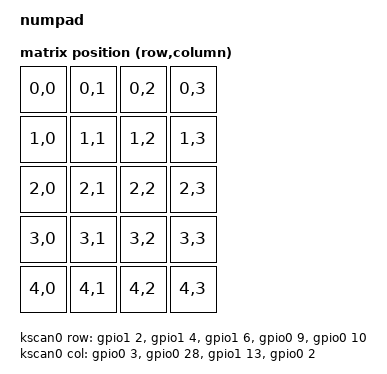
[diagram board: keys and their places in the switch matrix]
/*
 * Copyright (c) 2021 Nick Winans
 *
 * SPDX-License-Identifier: MIT
 */

/dts-v1/;
#include <nordic/nrf52840_qiaa.dtsi>
#include <dt-bindings/zmk/matrix_transform.h>
#include <dt-bindings/led/led.h>
#include <dt-bindings/zmk/ext_power.h>
#include <dt-bindings/zmk/led_matrix.h>
#include <dt-bindings/zmk/led_matrix_colors.h>
//#include <dt-bindings/zmk/backlight.h>
#include <common/nordic/nrf52840_uf2_boot_mode.dtsi>

#include "numpad_layouts.dtsi"
#include "numpad-pinctrl.dtsi"

/ {
	model = "numpad";
	compatible = "bmk,numpad";

	chosen {
		zephyr,code-partition = &code_partition;
		zephyr,sram = &sram0;
		zephyr,flash = &flash0;
		zmk,kscan = &kscan0;
		zmk,backlight = &backlight;
		//zephyr,display = &oled;
		//zephyr,display = &nice_view;
		zephyr,display = &st75256_display;
		//zephyr,display = &st7789;
		zmk,battery = &vbatt;
		zmk,led-matrix = &led_matrix;
		zmk,physical-layout = &layout_numpad;
	};

	default_transform: keymap_transform_0 {
		compatible = "zmk,matrix-transform";
		columns = <4>;
		rows = <5>;
		map = <
RC(0,0) RC(0,1) RC(0,2) RC(0,3) 
RC(1,0) RC(1,1) RC(1,2) RC(1,3) 
RC(2,0) RC(2,1) RC(2,2) RC(2,3)
RC(3,0) RC(3,1) RC(3,2) RC(3,3) 
RC(4,0) RC(4,1) RC(4,2) RC(4,3)
		>;
	};

	kscan0: kscan {
		compatible = "zmk,kscan-gpio-matrix";
		label = "KSCAN";
		diode-direction = "row2col";
		wakeup-source;
		row-gpios
			= <&gpio1 2 GPIO_ACTIVE_HIGH>
			, <&gpio1 4 GPIO_ACTIVE_HIGH>
			, <&gpio1 6 GPIO_ACTIVE_HIGH>
			, <&gpio0 9 GPIO_ACTIVE_HIGH>
			, <&gpio0 10 GPIO_ACTIVE_HIGH>
			;
		col-gpios
			= <&gpio0 3 (GPIO_ACTIVE_HIGH | GPIO_PULL_DOWN)>
			, <&gpio0 28 (GPIO_ACTIVE_HIGH | GPIO_PULL_DOWN)>
			, <&gpio1 13 (GPIO_ACTIVE_HIGH | GPIO_PULL_DOWN)>
			, <&gpio0 2 (GPIO_ACTIVE_HIGH | GPIO_PULL_DOWN)>
			;
	};

	backlight: backlight {
		compatible = "gpio-leds";
		screen_backlight: screen_backlight {
			gpios = <&gpio0 8 (GPIO_ACTIVE_HIGH | GPIO_PULL_DOWN)>;
			label = "SCREEN_BACKLIGHT";
		};
	};

	/*
	leds {
		compatible = "gpio-leds";
		white_led: led_0 {
			gpios = <&gpio0 29 GPIO_ACTIVE_HIGH>;
			label = "White_LED";
		};
	};


	lcd_light {
		compatible = "gpio-leds";
		lcd_light_sw: lcd_light {
			gpios = <&gpio0 8 (GPIO_ACTIVE_HIGH | GPIO_PULL_DOWN)>;
			label = "LCD_LIGHT";
		};
	};
 
	lcd_power {
		compatible = "gpio-leds";
		lcd_power_sw: lcd_power {
			gpios = <&gpio0 12 (GPIO_ACTIVE_HIGH | GPIO_PULL_DOWN)>;
			label = "LCD_POWER";
		};
	};


	backlight: pwmleds {
		compatible = "pwm-leds";
		pwm_led_0 {
			pwms = <&pwm0 0 PWM_MSEC(10) PWM_POLARITY_NORMAL>;
		};
	
	};
*/


	EXT_POWER {
        compatible = "zmk,ext-power-generic";
        control-gpios = <&gpio0 12 GPIO_ACTIVE_HIGH>;
    };

		led_matrix: led_matrix {
			compatible = "zmk,led-matrix";
			led-driver = "matrix";

			/*
			* Additional independent RGB test row:
			* CS7 common anode
			* RGB20: SW1=G  SW2=R  SW3=B
			* RGB21: SW4=G  SW5=R  SW6=B
			* RGB22: SW7=G  SW8=R  SW9=B
			* RGB23: SW10=G SW11=R SW12=B
			
			channel-indexes = <
				16 0 32   64 48 80   112 96 128   160 144 176
				17 1 33   65 49 81   113 97 129   161 145 177
				18 2 34   66 50 82   114 98 130   162 146 178
				19 3 35   67 51 83   115 99 131   163 147 179
				20 4 36   68 52 84   116 100 132  164 148 180
				22 6 38   70 54 86   118 102 134  166 150 182
			>;
			independent-leds = <20 21 22 23>;
			*/

			led-device = <&is31_led>;
			led-count = <20>;
			output-channel-count = <144>;

			/*
			 * ZMK channel-indexes are ordered R, G, B.
			 * Entries use the ZMK IS31FL3737 driver's dense flattened channel
			 * space (0..143).
			 *
			 * The driver restores the device's sparse PWM register layout
			 * internally, so this table should stay in dense channel space
			 * rather than raw page offsets.
			 */

			channel-indexes = <
				12 0 24   48 36 60   84 72 96   120 108 132
				13 1 25   49 37 61   85 73 97   121 109 133
				14 2 26   50 38 62   86 74 98   122 110 134
				15 3 27   51 39 63   87 75 99   123 111 135
				16 4 28   52 40 64   88 76 100  124 112 136
			>;

			matrix-led-grid = <
				0 1 2 3 LM_BREAK
				4 5 6 7 LM_BREAK
				8 9 10 11 LM_BREAK
				12 13 14 15 LM_BREAK
				16 17 18 19
			>;
		status-timeout-ms = <3000>;
		ble-pairing-hold = <1>;

		battery-leds = <4 5 6 7>;
		//battery-color-on = <LM_RED LM_ORANGE LM_YELLOW LM_GREEN>;
		battery-color-off = <LM_BLACK>;
		battery-level-colors = <LM_RED LM_ORANGE LM_YELLOW LM_GREEN>;
		

		ble-profile-leds = <12 13 14 15>;
		ble-color-open = <LM_BLUE>;
        ble-color-connected = <LM_CYAN>;
        ble-color-disconnected = <LM_RED>;

		hid-num-leds = <0>;
		hid-num-color-on = <LM_WHITE>;
		hid-num-color-off = <LM_BLACK>;

		profile0 {
			profile-id = <0>;
			display-name = "Palette Static";
			renderer = "solid";
			colors = <LM_PALETTE>;
			brightness = <100>;
			period-ms = <1500>;
		};

		profile1 {
            profile-id = <1>;
            display-name = "Swirl";
            renderer = "swirl";
            colors = <LM_DIM_CYAN>;
            brightness = <100>;
            period-ms = <2200>;
		};

		profile2 {
            profile-id = <2>;
            display-name = "Spectrum";
            renderer = "spectrum";
            colors = <LM_DIM_AMBER>;
            brightness = <100>;
            period-ms = <2200>;
        };



		profile3 {
			profile-id = <3>;
			display-name = "Keypress";
			renderer = "keypress";
			independent-led-mode = "static";
			keypress-afterglow-ms = <1000>;
			keypress-fadeout-ms = <250>;
			keypress-range = <0>;
			colors = <LM_PALETTE>;
			brightness = <100>;
			period-ms = <350>;
        };

        profile4 {
            profile-id = <4>;
            display-name = "Ripple";
            renderer = "ripple";
            colors = <LM_PALETTE>;
            brightness = <100>;
            period-ms = <1500>;
        };

        profile5 {
            profile-id = <5>;
            display-name = "Rain";
            renderer = "rain";
            colors = <LM_DIM_CYAN>;
            brightness = <100>;
            period-ms = <1400>;
        };

        profile6 {
            profile-id = <6>;
            display-name = "Starlight";
            renderer = "starlight";
            colors = <LM_DIM_WHITE>;
            brightness = <100>;
            period-ms = <2200>;
        };

	};

/*
	ext-power {
		compatible = "zmk,ext-power-generic";
		label = "EXT_POWER";
		control-gpios = <&gpio0 12 GPIO_ACTIVE_LOW>;
	};
*/

	vbatt: vbatt {
		compatible = "zmk,battery-voltage-divider";
		label = "BATTERY";
		io-channels = <&adc 2>;
		output-ohms = <2000000>;
		full-ohms = <(2000000 + 806000)>;
	};
/*
	pwmleds {
      compatible = "pwm-leds";
      status = "disabled";
      disp_bl: pwm_led_1 {
          pwms = <&pwm1 0 PWM_MSEC(1) PWM_POLARITY_NORMAL>;
      };
  };
*/

};

/*
&pwm1 {
    status = "disabled";
    pinctrl-0 = <&pwm1_default>;
    pinctrl-1 = <&pwm1_sleep>;
    pinctrl-names = "default", "sleep";
};
*/

&reg0 {
    status = "okay";
};

&reg1 {
    regulator-initial-mode = <NRF5X_REG_MODE_DCDC>;
};

&adc {
	status = "okay";
};

&gpiote {
	status = "okay";
};

&gpio0 {
	status = "okay";
};

&gpio1 {
	status = "okay";
};

&i2c0 {
	compatible = "nordic,nrf-twi";
	pinctrl-0 = <&i2c0_default>;
	pinctrl-1 = <&i2c0_sleep>;
	pinctrl-names = "default", "sleep";
	clock-frequency = <400000>;
	status = "okay";

	is31_led: is31fl3737@50 {
		compatible = "zmk,is31fl3737";
		reg = <0x50>;
		sdb-gpios = <&gpio0 6 GPIO_ACTIVE_HIGH>;
	};
};

/*
&i2c0 {
    compatible = "nordic,nrf-twi";
    pinctrl-0 = <&i2c0_default>;
    pinctrl-1 = <&i2c0_sleep>;
    pinctrl-names = "default", "sleep";
	clock-frequency = <100000>;
	status = "okay";
	oled: ssd1306@3c {
        compatible = "solomon,ssd1306fb";
        reg = <0x3c>;
        width = <128>;
        height = <64>;
        segment-offset = <0>;
        page-offset = <0>;
        display-offset = <0>;
        multiplex-ratio = <63>;
		//prechargep = <34>;
        segment-remap;
        com-invdir;
        //com-sequential;
        inversion-on;
        prechargep = <0x22>;
    };

};


disp_spi: &spi3 {
	status = "okay";
	pinctrl-0 = <&spi3_default>;
	pinctrl-1 = <&spi3_sleep>;
	pinctrl-names = "default", "sleep";
	cs-gpios = <&gpio0 22 GPIO_ACTIVE_LOW>;

	st7789: st7789v@0 {
		compatible = "sitronix,st7789v";
		spi-max-frequency = <1000000>;
		reg = <0>;
		cmd-data-gpios = <&gpio0 13 GPIO_ACTIVE_LOW>;
		reset-gpios = <&gpio0 20 GPIO_ACTIVE_LOW>;
		width = <240>;
		height = <280>;
		x-offset = <0>;
		y-offset = <20>;
		vcom = <0x19>;
		gctrl = <0x35>;
		vrhs = <0x12>;
		vdvs = <0x20>;
		mdac = <0x00>;
		gamma = <0x01>;
		colmod = <0x05>;
		lcm = <0x2c>;
		porch-param = [ 0c 0c 00 33 33  ];
		cmd2en-param = [ 5a 69 02 01  ];
		pwctrl1-param = [ a4 a1  ];
		pvgam-param = [ D0 04 0D 11 13 2B 3F 54 4C 18 0D 0B 1F 23  ];
		nvgam-param = [ D0 04 0C 11 13 2C 3F 44 51 2F 1F 1F 20 23  ];
		ram-param = [ 00 F0  ];
		rgb-param = [ CD 08 14  ];
   };
};




disp_spi: &spi1 {
	compatible = "nordic,nrf-spim";
    pinctrl-0 = <&spi1_default>;
    pinctrl-1 = <&spi1_sleep>;
    pinctrl-names = "default", "sleep";
    cs-gpios = <&gpio0 22  GPIO_ACTIVE_LOW>;
    status = "okay";
    st7789: st7789v@0 {
        compatible = "sitronix,st7789v";
        reg = <0>; 
        spi-max-frequency = <10000000>; 
        cmd-data-gpios = <&gpio0 13 GPIO_ACTIVE_LOW>;
        reset-gpios = <&gpio0 20 GPIO_ACTIVE_LOW>;
        width = <320>;
        height = <172>;
        x-offset = <0>;
        y-offset = <34>;
		vcom = <0x19>;
		gctrl = <0x35>;
		vrhs = <0x12>;
		vdvs = <0x20>;
		mdac = <0x60>;
		gamma = <0x01>;
		colmod = <0x05>;
		lcm = <0x2c>;
		porch-param = [0c 0c 00 33 33];
		cmd2en-param = [5a 69 02 01];
		pwctrl1-param = [A4 A1];
		pvgam-param = [D0 04 0D 11 13 2B 3F 54 4C 18 0D 0B 1F 23];
		nvgam-param = [D0 04 0C 11 13 2C 3F 44 51 2F 1F 1F 20 23];
		ram-param = [00 F0];
		rgb-param = [CD 08 14];
    };
};
*/

/*
nice_view_spi: &spi1 {
    compatible = "nordic,nrf-spim";
    pinctrl-0 = <&spi1_default>;
    pinctrl-1 = <&spi1_sleep>;
    pinctrl-names = "default", "sleep";
    cs-gpios = <&gpio0 22  GPIO_ACTIVE_HIGH>;
};

&nice_view_spi {
    status = "okay";
    nice_view: ls0xx@0 {
        compatible = "sharp,ls0xx";
        spi-max-frequency = <1000000>;
        reg = <0>;
        width = <160>;
        height = <68>;
    };
};
*/

&spi1 {
	compatible = "nordic,nrf-spim";
	pinctrl-0 = <&spi1_default>;
	pinctrl-1 = <&spi1_sleep>;
	pinctrl-names = "default", "sleep";
	cs-gpios = <&gpio0 22 GPIO_ACTIVE_LOW>;
	status = "okay";
};

/ {
	mipi_dbi_st75256: mipi-dbi-st75256 {
		compatible = "zephyr,mipi-dbi-spi";
		spi-dev = <&spi1>;
		dc-gpios = <&gpio0 20 GPIO_ACTIVE_HIGH>;
		reset-gpios = <&gpio0 17 GPIO_ACTIVE_LOW>;
		write-only;
		#address-cells = <1>;
		#size-cells = <0>;

		st75256_display: st75256@0 {
			compatible = "sitronix,st75256";
			reg = <0>;
			mipi-max-frequency = <1000000>;
			mipi-mode = "MIPI_DBI_MODE_SPI_4WIRE";
			width = <256>;
			height = <160>;
			duty = <159>;
			fi-settings = <0x0e>;
			bias-ratio = <4>;
			booster-frequency = <1>;
			flip-configuration = <0>;
			/* inversion-on; */
			lsb-invdir;
			light-grey = <0x08>;
			dark-grey = <0x18>;
			power-control = <0x0b>;
		};
	};
};

/*
&spi1 {
	compatible = "nordic,nrf-spim";
    pinctrl-0 = <&spi1_default>;
    pinctrl-1 = <&spi1_sleep>;
    pinctrl-names = "default", "sleep";
	cs-gpios = <&gpio0 22 GPIO_ACTIVE_LOW>;
    status = "okay";
    st75256_display: st75256@0 {
        compatible = "sitronix,st75256";
        reg = <0>;
        spi-max-frequency = <4000000>;
        a0-gpios = <&gpio0 20 GPIO_ACTIVE_HIGH>;
        reset-gpios = <&gpio0 17 GPIO_ACTIVE_LOW>;
        width = <256>;
        height = <160>;
        //duty = <159>;
        //bias-ratio = <1>;
        //booster-frequency = <0>;
        //flip-configuration = <0>;
		c86-mode = <0>;
        //pixel-format = "MONO01"; 
    };
};





&i2c0 {
    compatible = "nordic,nrf-twi";
    pinctrl-0 = <&i2c0_default>;
    pinctrl-1 = <&i2c0_sleep>;
    pinctrl-names = "default", "sleep";
	clock-frequency = <100000>;
	status = "okay";
	oled: ch1115@3c {
        compatible = "solomon,ch1115";
        reg = <0x3c>;
        width = <128>;
        height = <64>;
        //reset-gpios = <&gpio0 15 GPIO_ACTIVE_LOW>;
        segment-offset = <0>;
        page-offset = <0>;
        display-offset = <0>;
        multiplex-ratio = <63>;
        prechargep = <0x22>;
        vcomh-level = <0x35>;
        com-sequential;
        //internal-charge-pump;
        ready-time-ms = <100>;
    };

};

*/

/*

&i2c0 {
	compatible = "nordic,nrf-twi";
    pinctrl-0 = <&i2c0_default>;
    pinctrl-1 = <&i2c0_sleep>;
    pinctrl-names = "default", "sleep";
	clock-frequency = <100000>;
    status = "okay";
    oled: ssd1312@3c {
		compatible = "solomon,ssd1312fb";
		reg = <0x3c>;
		width = <128>;
		height = <64>;
		segment-offset = <0>;
		page-offset = <0>;
		display-offset = <0>;
		multiplex-ratio = <63>;
		segment-remap;
		com-invdir;
		com-sequential;
		prechargep = <0x22>;
		//reset-gpios = <&gpio1 9 GPIO_ACTIVE_LOW>;
		ready-time-ms = <100>;
		external-vcc;
    };
};


*/



/*


nice_view_spi: &spi0 {
    compatible = "nordic,nrf-spim";
    pinctrl-0 = <&spi0_default>;
    pinctrl-1 = <&spi0_sleep>;
    pinctrl-names = "default", "sleep";
    cs-gpios = <&gpio0 22  GPIO_ACTIVE_HIGH>;
};

&nice_view_spi {
    status = "okay";
    nice_view: ls0xx@0 {
        compatible = "sharp,ls0xx";
        spi-max-frequency = <1000000>;
        reg = <0>;
        width = <160>;
        height = <68>;
    };
};


*/

/*
&usbd {
	status = "okay";
};
*/


zephyr_udc0: &usbd {
    status = "okay";
};



&flash0 {
	/*
	 * For more information, see:
	 * http://docs.zephyrproject.org/latest/devices/dts/flash_partitions.html
	 */
	partitions {
		compatible = "fixed-partitions";
		#address-cells = <1>;
		#size-cells = <1>;

		sd_partition: partition@0 {
			reg = <0x00000000 0x00001000>;
		};

		code_partition: partition@1000 {
			reg = <0x00001000 0x000d3000>;
		};

		/*
		 * The flash starting at 0x000d4000 and ending at
		 * 0x000f3fff is reserved for use by the application.
		 */

		/*
		 * Storage partition will be used by FCB/LittleFS/NVS
		 * if enabled.
		 */
		storage_partition: partition@d4000 {
			reg = <0x000d4000 0x00020000>;
		};

		boot_partition: partition@f4000 {
			reg = <0x000f4000 0x0000c000>;
		};
	};
};


&layout_numpad {
    transform = <&default_transform>;
};

